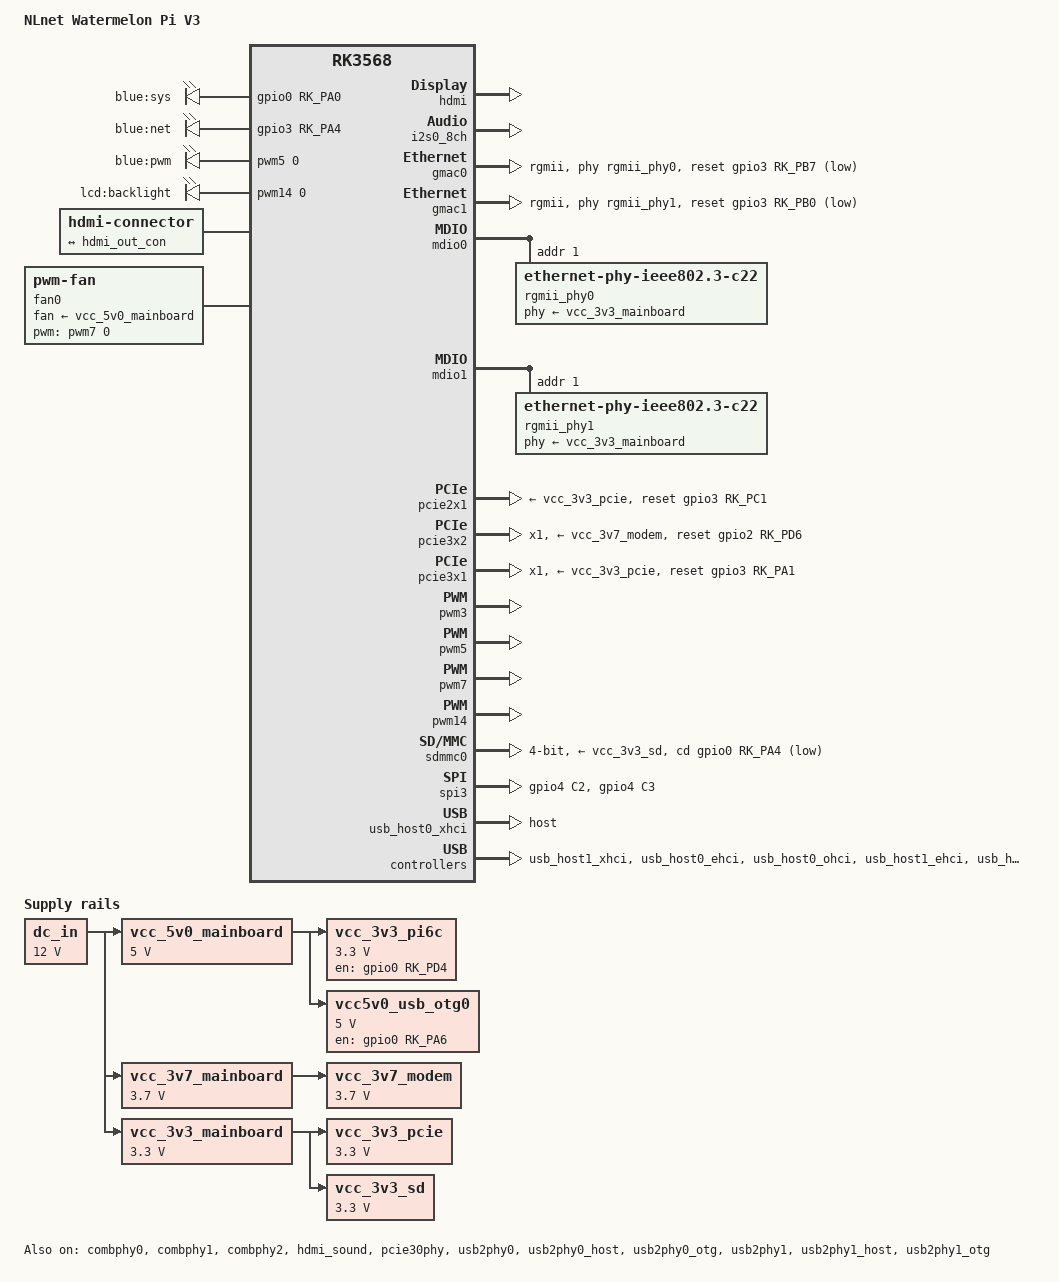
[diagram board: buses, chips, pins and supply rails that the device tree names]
// SPDX-License-Identifier: (GPL-2.0+ OR MIT)
// Copyright (c) 2023 unifreq <https://github.com/unifreq>

/dts-v1/;

#include "rk3568-watermelon-core.dtsi"

/ {
	model = "NLnet Watermelon Pi V3";
	compatible = "nlnet,watermelon-pi-v3", "rockchip,rk3568";

	gpio_leds: gpio-leds {
		compatible = "gpio-leds";
		pinctrl-names = "default";
		pinctrl-0 = <&sys_led_pin &net_led_pin>;

		sys_led: sys-led {
			gpios = <&gpio0 RK_PA0 GPIO_ACTIVE_HIGH>;
			label = "blue:sys";
			linux,default-trigger = "heartbeat";
		};

		net_led: net-led {
			gpios = <&gpio3 RK_PA4 GPIO_ACTIVE_HIGH>;
			label = "blue:net";
		};
	};

	pwm_leds: pwm-leds {
		compatible = "pwm-leds";

		pwm_led: pwm-led {
			label = "blue:pwm";
			pwms = <&pwm5 0 1000000 0>;
			max-brightness = <255>;
		};

		backlight: backlight {
			label = "lcd:backlight";
			pwms = <&pwm14 0 1000000 0>;
			max-brightness = <255>;
			linux,default-trigger = "default-on";
		};
	};

	dc_in: dc-in {
		compatible = "regulator-fixed";
		regulator-name = "dc_in";
		regulator-always-on;
		regulator-boot-on;
		regulator-min-microvolt = <12000000>;
		regulator-max-microvolt = <12000000>;
	};

	vcc_5v0_mainboard: vcc_5v0-mainboard {
		compatible = "regulator-fixed";
		regulator-name = "vcc5v0_mainboard";
		regulator-always-on;
		regulator-boot-on;
		regulator-min-microvolt = <5000000>;
		regulator-max-microvolt = <5000000>;
		vin-supply = <&dc_in>;
	};

	/*
	 * Default is 3.8v
	 * Connect to battery positive terminal if it is present
	 */
	vcc_3v7_mainboard: vcc-3v7-mainboard {
		compatible = "regulator-fixed";
		regulator-name = "vcc_3v7_mainboard";
		regulator-always-on;
		regulator-boot-on;
		regulator-min-microvolt = <3700000>;
		regulator-max-microvolt = <3700000>;
		vin-supply = <&dc_in>;
	};

	vcc_3v3_mainboard: vcc-3v3-mainboard {
		compatible = "regulator-fixed";
		regulator-name = "vcc_3v3_mainboard";
		regulator-always-on;
		regulator-boot-on;
		regulator-min-microvolt = <3300000>;
		regulator-max-microvolt = <3300000>;
		vin-supply = <&dc_in>;
	};

	vcc_3v3_pi6c: vcc-3v3-pi6c {
		compatible = "regulator-fixed";
		regulator-name = "vcc_3v3_pi6c";
		regulator-always-on;
		regulator-boot-on;
		enable-active-high;
		gpio = <&gpio0 RK_PD4 GPIO_ACTIVE_HIGH>;
		pinctrl-names = "default";
		pinctrl-0 = <&pcie_pwr_en>;
		regulator-min-microvolt = <3300000>;
		regulator-max-microvolt = <3300000>;
		vin-supply = <&vcc_5v0_mainboard>;
	};

	/* gpio: same as vcc_3v3_pi6c */
	vcc_3v3_pcie: vcc-3v3-pcie {
		compatible = "regulator-fixed";
		regulator-name = "vcc_3v3_pcie";
		regulator-always-on;
		regulator-boot-on;
		regulator-min-microvolt = <3300000>;
		regulator-max-microvolt = <3300000>;
		vin-supply = <&vcc_3v3_mainboard>;
	};

	/* gpio: same as vcc_3v3_pi6c */
	vcc_3v7_modem: vcc-3v7-modem {
		compatible = "regulator-fixed";
		regulator-name = "vcc_3v7_modem";
		regulator-always-on;
		regulator-boot-on;
		regulator-min-microvolt = <3700000>;
		regulator-max-microvolt = <3700000>;
		vin-supply = <&vcc_3v7_mainboard>;
	};

	vcc5v0_usb_otg0: vcc5v0-usb-otg0 {
		compatible = "regulator-fixed";
		regulator-boot-on;
		regulator-always-on;
		enable-active-high;
		gpio = <&gpio0 RK_PA6 GPIO_ACTIVE_HIGH>;
		pinctrl-names = "default";
		pinctrl-0 = <&vcc5v0_usb_otg0_en>;
		regulator-min-microvolt = <5000000>;
		regulator-max-microvolt = <5000000>;
		regulator-name = "vcc5v0_usb_otg0";
		vin-supply = <&vcc_5v0_mainboard>;
	};

	vcc_3v3_sd: vcc-3v3-sd {
		compatible = "regulator-fixed";
		regulator-name = "vcc_3v3_sd";
		regulator-boot-on;
		regulator-always-on;
		regulator-min-microvolt = <3300000>;
		regulator-max-microvolt = <3300000>;
		vin-supply = <&vcc_3v3_mainboard>;
	};

	hdmi-con {
		compatible = "hdmi-connector";
		type = "a";

		port {
			hdmi_con_in: endpoint {
				remote-endpoint = <&hdmi_out_con>;
			};
		};
	};

	fan0: pwm-fan {
		compatible = "pwm-fan";
		#cooling-cells = <2>;
		pwms = <&pwm7 0 50000 0>;
		cooling-levels = <0 102 170 230>;
		pulses-per-revolution = <2>;
		fan-supply = <&vcc_5v0_mainboard>;
	};
};

&combphy0 {
	status = "okay";
};

&combphy1 {
	status = "okay";
};

&combphy2 {
	status = "okay";
};

&cpu_thermal {
	trips {
		cpu_cool: cpu_cool {
			temperature = <45000>;
			hysteresis = <2000>;
			type = "active";
		};

		cpu_warm: cpu_warm {
			temperature = <55000>;
			hysteresis = <2000>;
			type = "active";
		};

		cpu_hot: cpu_hot {
			temperature = <65000>;
			hysteresis = <2000>;
			type = "active";
		};
	};

	cooling-maps {
		map1 {
			trip = <&cpu_cool>;
			cooling-device = <&fan0 THERMAL_NO_LIMIT 1>;
		};

		map2 {
			trip = <&cpu_warm>;
			cooling-device = <&fan0 2 THERMAL_NO_LIMIT>;
		};

		map3 {
			trip = <&cpu_hot>;
			cooling-device = <&fan0 3 THERMAL_NO_LIMIT>;
		};
	};
};

&hdmi {
	avdd-0v9-supply = <&vdda0v9_image_p>;
	avdd-1v8-supply = <&vcca1v8_image_p>;
	status = "okay";
};

&hdmi_in {
	hdmi_in_vp0: endpoint {
		remote-endpoint = <&vp0_out_hdmi>;
	};
};

&hdmi_out {
	hdmi_out_con: endpoint {
		remote-endpoint = <&hdmi_con_in>;
	};
};

&hdmi_sound {
	status = "okay";
};

&i2s0_8ch {
	status = "okay";
};

&pmu_io_domains {
        /*
         * v1 & v2 uses vcc_1v8
         * v3 uses vcc_3v3
         */
	vccio5-supply = <&vcc_3v3>;
};

&gmac0 {
	assigned-clocks = <&cru SCLK_GMAC0_RX_TX>, <&cru SCLK_GMAC0>;
	assigned-clock-parents = <&cru SCLK_GMAC0_RGMII_SPEED>;
	assigned-clock-rates = <0>, <125000000>;
	clock_in_out = "output";
	phy-mode = "rgmii";
	pinctrl-names = "default";
	pinctrl-0 = <&gmac0_miim
		     &gmac0_tx_bus2
		     &gmac0_rx_bus2
		     &gmac0_rgmii_clk
		     &gmac0_rgmii_bus>;
	snps,reset-gpio = <&gpio3 RK_PB7 GPIO_ACTIVE_LOW>;
	snps,reset-active-low;
	snps,reset-delays-us = <0 20000 100000>;
	tx_delay = <0x36>;
	rx_delay = <0x2c>;
	phy-handle = <&rgmii_phy0>;
	status = "okay";
};

&gmac1 {
	assigned-clocks = <&cru SCLK_GMAC1_RX_TX>, <&cru SCLK_GMAC1>;
	assigned-clock-parents = <&cru SCLK_GMAC1_RGMII_SPEED>;
	assigned-clock-rates = <0>, <125000000>;
	clock_in_out = "output";
	phy-mode = "rgmii";
	pinctrl-names = "default";
	pinctrl-0 = <&gmac1m1_miim
		     &gmac1m1_tx_bus2
		     &gmac1m1_rx_bus2
		     &gmac1m1_rgmii_clk
		     &gmac1m1_rgmii_bus>;
	snps,reset-gpio = <&gpio3 RK_PB0 GPIO_ACTIVE_LOW>;
	snps,reset-active-low;
	snps,reset-delays-us = <0 20000 100000>;
	tx_delay = <0x44>;
	rx_delay = <0x28>;
	phy-handle = <&rgmii_phy1>;
	status = "okay";
};

&mdio0 {
	rgmii_phy0: ethernet-phy@1 {
		compatible = "ethernet-phy-ieee802.3-c22";
		phy-supply = <&vcc_3v3_mainboard>;
		reg = <0x1>;
	};
};

&mdio1 {
	rgmii_phy1: ethernet-phy@1 {
		compatible = "ethernet-phy-ieee802.3-c22";
		phy-supply = <&vcc_3v3_mainboard>;
		reg = <0x1>;
	};
};

&pcie2x1 {
	reset-gpios = <&gpio3 RK_PC1 GPIO_ACTIVE_HIGH>;
	vpcie3v3-supply = <&vcc_3v3_pcie>;
	status = "okay";
};

&pcie30phy {
	data-lanes = <1 2>;
	status = "okay";
};

&pcie3x2 {
	num-lanes = <1>;
	reset-gpios = <&gpio2 RK_PD6 GPIO_ACTIVE_HIGH>;
	vpcie3v3-supply = <&vcc_3v7_modem>;
	status = "okay";
};

&pcie3x1 {
	num-lanes = <1>;
	reset-gpios = <&gpio3 RK_PA1 GPIO_ACTIVE_HIGH>;
	vpcie3v3-supply = <&vcc_3v3_pcie>;
	status = "okay";
};

&pwm3 {
	compatible = "rockchip,remotectl-pwm";
	pinctrl-names = "default";
	pinctrl-0 = <&pwm3_pins>;
	remote_pwm_id = <3>;
	handle_cpu_id = <1>;
	remote_support_psci = <0>;
	interrupts = <GIC_SPI 82 IRQ_TYPE_LEVEL_HIGH>,
	     <GIC_SPI 86 IRQ_TYPE_LEVEL_HIGH>;
	status = "okay";

	/* China Mobile TV Box */
	ir_key1 {
		rockchip,usercode = <0xdd22>;
		rockchip,key_table =
			<0x6a	KEY_BACK>,
			<0x35	KEY_UP>,
			<0x2d	KEY_DOWN>,
			<0x66	KEY_LEFT>,
			<0x3e	KEY_RIGHT>,
			<0x31	0x161>, //KEY_CENTER
			<0x77	KEY_HOME>,
			<0x7f	KEY_VOLUMEUP>,
			<0x7e	KEY_VOLUMEDOWN>,
			<0x23	KEY_POWER>,
			<0x7d	KEY_MENU>,
			<0x7a	0x192>, //KEY_CHANNELUP
			<0x79	0x193>, //KEY_CHANNELDOWN
			<0x72	0x96>, //KEY_EXPLORER (SETTING)
			<0xf	KEY_SEARCH>, //KEY_SEARCH 'M'
			<0x6d	KEY_1>,
			<0x6c	KEY_2>,
			<0x33	KEY_3>,
			<0x71	KEY_4>,
			<0x70	KEY_5>,
			<0x37	KEY_6>,
			<0x75	KEY_7>,
			<0x74	KEY_8>,
			<0x3b	KEY_9>,
			<0x78	KEY_0>,
			<0x2f	KEY_NUMERIC_STAR>,  /* * key */
			<0x25	KEY_NUMERIC_POUND>; /* # key */
	};
};

&pwm5 {
	pinctrl-0 = <&pwm5_pins>;
	pinctrl-names = "default";
	status = "okay";
};

&pwm7 {
	pinctrl-0 = <&pwm7_pins>;
	pinctrl-names = "default";
	status = "okay";
};

&pwm14 {
	pinctrl-0 = <&pwm14m0_pins>;
	pinctrl-names = "default";
	status = "okay";
};

&pinctrl {
	leds {
		sys_led_pin: sys-led-pin {
			rockchip,pins = <0 RK_PA0 RK_FUNC_GPIO &pcfg_pull_none>;
		};

		net_led_pin: net-led-pin {
			rockchip,pins = <3 RK_PA4 RK_FUNC_GPIO &pcfg_pull_none>;
		};
	};

	lcd_display {
		spi3_sck: spi3-sck {
			rockchip,pins = <4 RK_PC2 2 &pcfg_pull_up_drv_level_1>;
		};

		spi3_mosi: spi3-mosi {
			rockchip,pins = <4 RK_PC3 2 &pcfg_pull_up_drv_level_1>;
		};

		lcd_reset_pin: lcd-reset-pin {
			rockchip,pins = <4 RK_PC4 RK_FUNC_GPIO &pcfg_pull_none>;
		};

		lcd_dc_pin: display_dc_pin {
			rockchip,pins = <4 RK_PC5 RK_FUNC_GPIO &pcfg_pull_up_drv_level_1>;
		};
	};

        pcie {
		pcie_pwr_en: pcie-pwr-en {
			rockchip,pins = <0 RK_PD4 RK_FUNC_GPIO &pcfg_pull_none>;
		};
	};

	modem {
		modem_reset_pins: modem-reset-pins {
			rockchip,pins = <2 RK_PD7 RK_FUNC_GPIO &pcfg_pull_down>;
		};
	};

	usb {
		vcc5v0_usb_otg0_en: vcc5v0_usb_otg0_en {
			rockchip,pins = <0 RK_PA6 RK_FUNC_GPIO &pcfg_pull_none>;
		};
	};
};

&sdmmc0 {
	max-frequency = <150000000>;
	bus-width = <4>;
	cd-gpios = <&gpio0 RK_PA4 GPIO_ACTIVE_LOW>;
	supports-sd;
	disable-wp;
	cap-mmc-highspeed;
	cap-sd-highspeed;
	sd-uhs-sdr50;
	sd-uhs-sdr104;
	vmmc-supply = <&vcc_3v3_sd>;
	vqmmc-supply = <&vccio_sd>;
	pinctrl-names = "default";
	pinctrl-0 = <&sdmmc0_bus4 &sdmmc0_clk &sdmmc0_cmd &sdmmc0_det>;
	card-detect-delay = <800>;
	status = "okay";
};

&spi3 {
	pinctrl-names = "default";
	pinctrl-0 = <&spi3m1_cs0_hs &spi3_sck &spi3_mosi>;
	status = "okay";

	lcd_display: lcd-display@0 {
		compatible = "sitronix,st7735r";
		reg = <0>;
		spi-max-frequency = <50000000>;
		rotate = <0>;
		dc-gpios = <&gpio4 RK_PC5 GPIO_ACTIVE_HIGH>;
		reset-gpios = <&gpio4 RK_PC4 GPIO_ACTIVE_LOW>;
		pinctrl-names = "default";
		pinctrl-0 = <&lcd_dc_pin &lcd_reset_pin>;
		backlight = <&backlight>;
		buswidth = <8>;
		debug = <0x0>;
		status = "disabled";
	};
};

&usb2phy0 {
	status = "okay";
};

&usb2phy0_host {
	phy-supply = <&vcc_5v0_mainboard>;
	pinctrl-0 = <&modem_reset_pins>;
	pinctrl-names = "default";
	status = "okay";
};

&usb2phy0_otg {
	vbus-supply = <&vcc5v0_usb_otg0>;
	status = "okay";
};

&usb_host0_xhci {
	dr_mode = "host";
	extcon = <&usb2phy0>;
	status = "okay";
};

&usb_host1_xhci {
	status = "okay";
};

&usb2phy1 {
	status = "okay";
};

&usb2phy1_host {
	phy-supply = <&vcc_5v0_mainboard>;
	status = "okay";
};

&usb2phy1_otg {
	phy-supply = <&vcc_5v0_mainboard>;
	status = "okay";
};

&usb_host0_ehci {
	status = "okay";
};

&usb_host0_ohci {
	status = "okay";
};

&usb_host1_ehci {
	status = "okay";
};

&usb_host1_ohci {
	status = "okay";
};

&vcc_5v0_in {
	vin-supply = <&vcc_5v0_mainboard>;
};
